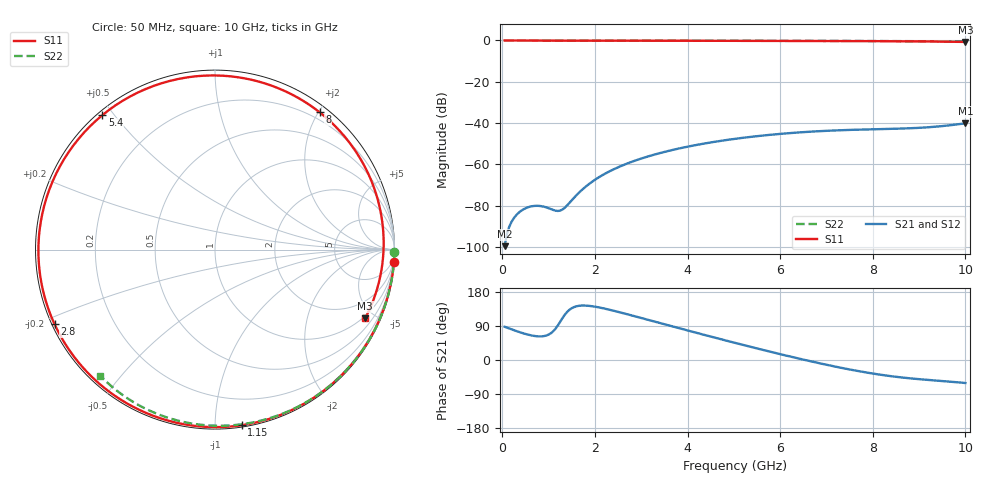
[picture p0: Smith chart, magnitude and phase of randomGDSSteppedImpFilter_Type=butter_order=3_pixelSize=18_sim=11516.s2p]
! freq	dB(S11)	phase(S11)	dB(S12)	phase(S12)
!  dB(S21)	phase(S21)	dB(S22)	phase(S22)
!S-par simulation data
#  GHz  S  DB  R 50
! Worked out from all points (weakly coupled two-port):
!   200 points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, 50 MHz to 10 GHz, reference 50 ohm
!   highest |S21| = -40.11 dB at 10 GHz (marker M1); lowest = -99.6 dB at 50 MHz (marker M2)
!   lowest |S11| = -0.7 dB at 10 GHz (marker M3), VSWR 24.03, Z = 44.3 - j221 ohm
!   |S11| at or under -10 dB: nowhere
!   |S22| runs from -0.4 to 0.0 dB; largest |S21 - S12| = 0
!   S11 on the Smith chart (normalised r, x): 50 MHz: 0, -29; 1.15 GHz: 0.01, -1.16; 2.8 GHz: 0.01, -0.22; 5.4 GHz: 0.01, +0.47; 8 GHz: 0.10, +2.01; 10 GHz: 0.89, -4.42
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0.05  -0.00 -3.9  -99.60 87.7  -99.60 87.7  -0.00 -0.8
0.35  -0.04 -27.0  -83.48 74.4  -83.48 74.4  -0.01 -5.3
0.65  -0.06 -48.9  -80.22 64.4  -80.22 64.4  -0.01 -9.9
0.9  -0.08 -65.9  -80.49 63.1  -80.49 63.1  -0.02 -13.7
1.15  -0.09 -81.4  -82.40 82.7  -82.40 82.7  -0.02 -17.4
1.4  -0.10 -95.6  -79.84 126.9  -79.84 126.9  -0.03 -21.2
1.75  -0.11 -113.2  -71.74 143.8  -71.74 143.8  -0.03 -26.4
2.2  -0.12 -132.8  -64.73 135.9  -64.73 135.9  -0.04 -33.0
2.8  -0.12 -155.0  -58.71 117.5  -58.71 117.5  -0.05 -41.7
3.4  -0.14 -174.3  -54.55 97.7  -54.55 97.7  -0.07 -50.3
4.2  -0.16 162.6  -50.56 71.5  -50.56 71.5  -0.09 -61.3
5.05  -0.19 139.4  -47.55 44.4  -47.55 44.4  -0.11 -72.7
5.4  -0.20 130.0  -46.58 33.6  -46.58 33.6  -0.12 -77.3
6.05  -0.23 112.1  -45.14 14.0  -45.14 14.0  -0.15 -85.6
6.7  -0.26 93.5  -44.10 -4.5  -44.10 -4.5  -0.18 -93.7
7.35  -0.29 73.8  -43.42 -21.4  -43.42 -21.4  -0.22 -101.6
8  -0.34 52.7  -43.01 -35.7  -43.01 -35.7  -0.26 -109.3
8.35  -0.37 40.7  -42.83 -42.0  -42.83 -42.0  -0.29 -113.4
8.8  -0.43 24.4  -42.51 -48.3  -42.51 -48.3  -0.33 -118.6
9.25  -0.51 7.1  -41.94 -53.1  -41.94 -53.1  -0.37 -123.8
9.65  -0.61 -9.3  -41.11 -56.9  -41.11 -56.9  -0.41 -128.3
10  -0.72 -24.6  -40.11 -60.8  -40.11 -60.8  -0.45 -132.3
